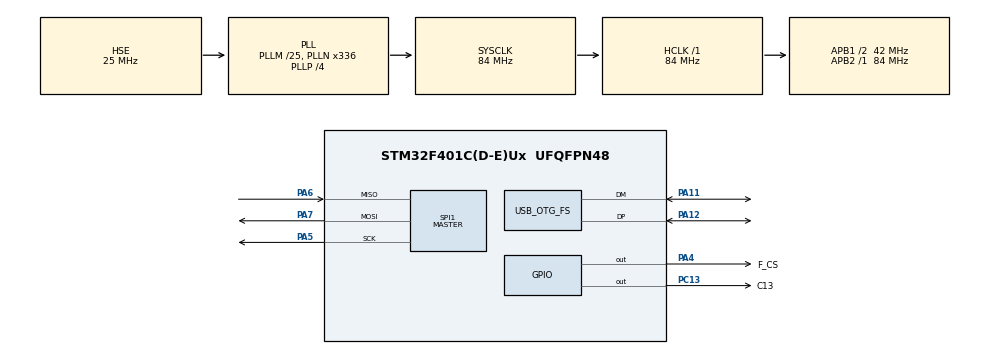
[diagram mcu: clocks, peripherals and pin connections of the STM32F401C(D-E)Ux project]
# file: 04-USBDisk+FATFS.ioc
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FATFS._CODE_PAGE=850
FATFS._MAX_SS=4096
FATFS._MIN_SS=4096
FATFS._USE_LFN=2
Mcu.Family=STM32F4
Mcu.Name=STM32F401C(D-E)Ux
Mcu.Package=UFQFPN48
NVIC.OTG_FS_IRQn=true\:1\:0\:true\:false\:true\:false\:true
NVIC.PriorityGroup=NVIC_PRIORITYGROUP_4
NVIC.RCC_IRQn=true\:0\:0\:true\:false\:true\:true\:false
NVIC.SPI1_IRQn=true\:0\:0\:true\:false\:true\:true\:true
PA11.Mode=Device_Only
PA11.Signal=USB_OTG_FS_DM
PA12.Mode=Device_Only
PA12.Signal=USB_OTG_FS_DP
PA13.Mode=Serial_Wire
PA13.Signal=SYS_JTMS-SWDIO
PA14.Mode=Serial_Wire
PA14.Signal=SYS_JTCK-SWCLK
PA4.GPIO_Label=F_CS
PA4.GPIO_Speed=GPIO_SPEED_FREQ_VERY_HIGH
PA4.PinState=GPIO_PIN_SET
PA4.Signal=GPIO_Output
PA5.Mode=Full_Duplex_Master
PA5.Signal=SPI1_SCK
PA6.Mode=Full_Duplex_Master
PA6.Signal=SPI1_MISO
PA7.Mode=Full_Duplex_Master
PA7.Signal=SPI1_MOSI
PC13-ANTI_TAMP.GPIO_Label=C13
PC13-ANTI_TAMP.PinState=GPIO_PIN_SET
PC13-ANTI_TAMP.Signal=GPIO_Output
PC14-OSC32_IN.Mode=LSE-External-Oscillator
PC14-OSC32_IN.Signal=RCC_OSC32_IN
PC15-OSC32_OUT.Mode=LSE-External-Oscillator
PC15-OSC32_OUT.Signal=RCC_OSC32_OUT
PH0\ -\ OSC_IN.Mode=HSE-External-Oscillator
PH0\ -\ OSC_IN.Signal=RCC_OSC_IN
PH1\ -\ OSC_OUT.Mode=HSE-External-Oscillator
PH1\ -\ OSC_OUT.Signal=RCC_OSC_OUT
ProjectManager.HeapSize=0x2000
ProjectManager.StackSize=0x400
ProjectManager.TargetToolchain=MDK-ARM V5.27
RCC.48MHZClocksFreq_Value=48000000
RCC.AHBFreq_Value=84000000
RCC.APB1CLKDivider=RCC_HCLK_DIV2
RCC.APB1Freq_Value=42000000
RCC.APB1TimFreq_Value=84000000
RCC.APB2Freq_Value=84000000
RCC.APB2TimFreq_Value=84000000
RCC.CortexFreq_Value=84000000
RCC.HCLKFreq_Value=84000000
RCC.HSE_VALUE=25000000
RCC.HSI_VALUE=16000000
RCC.PLLM=25
RCC.PLLN=336
RCC.PLLP=RCC_PLLP_DIV4
RCC.PLLQ=7
RCC.RCC_RTC_Clock_Source=RCC_RTCCLKSOURCE_LSE
RCC.RCC_RTC_Clock_SourceVirtual=RCC_RTCCLKSOURCE_LSE
RCC.SYSCLKFreq_VALUE=84000000
RCC.SYSCLKSource=RCC_SYSCLKSOURCE_PLLCLK
RCC.VCOOutputFreq_Value=336000000
RTC.Month=RTC_MONTH_APRIL
RTC.Year=19
SPI1.BaudRatePrescaler=SPI_BAUDRATEPRESCALER_2
SPI1.Direction=SPI_DIRECTION_2LINES
SPI1.Mode=SPI_MODE_MASTER
SPI1.VirtualType=VM_MASTER
USB_DEVICE.CLASS_NAME_FS=MSC
USB_DEVICE.MSC_MEDIA_PACKET=4096
USB_DEVICE.VirtualMode=Msc
USB_DEVICE.VirtualMode-MSC_FS=Msc
USB_DEVICE.VirtualModeFS=Msc_FS
USB_OTG_FS.VirtualMode=Device_Only
VP_FATFS_VS_Generic.Mode=User_defined
VP_RTC_VS_RTC_Activate.Mode=RTC_Enabled
VP_RTC_VS_RTC_Calendar.Mode=RTC_Calendar
VP_USB_DEVICE_VS_USB_DEVICE_MSC_FS.Mode=MSC_FS
board=custom

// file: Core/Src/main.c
/* USER CODE BEGIN Header */

// WeAct Studio 微行工作室
// https://github.com/WeActStudio/
// 淘宝搜索：WeAct Studio
// STM32F401CEU6 Core Board
// Board Version: V3.0
// 收到的板子没有Logo `WeAct` && `版本号` 的均不是我们生产，很有可能为盗版
// >> 04-USBDisk+FATFS

/**
  ******************************************************************************
  * @file           : main.c
  * @brief          : Main program body
  ******************************************************************************
  * @attention
  *
  * <h2><center>&copy; Copyright (c) 2020 STMicroelectronics.
  * All rights reserved.</center></h2>
  *
  * This software component is licensed by ST under Ultimate Liberty license
  * SLA0044, the "License"; You may not use this file except in compliance with
  * the License. You may obtain a copy of the License at:
  *                             www.st.com/SLA0044
  *
  ******************************************************************************
  */
/* USER CODE END Header */

#include "main.h"
#include "fatfs.h"
#include "rtc.h"
#include "spi.h"
#include "usb_device.h"
#include "gpio.h"

void SystemClock_Config(void);

/* USER CODE BEGIN 0 */
 /*
  *power by WeAct Studio
  *The board with `WeAct` Logo && `version number` is our board, quality guarantee.
  *For more information please visit: https://github.com/WeActStudio/MiniF4-STM32F4x1
  *更多信息请访问：https://gitee.com/WeActStudio/MiniF4-STM32F4x1
  */
/* USER CODE END 0 */

int main(void)
{

  /* MCU Configuration--------------------------------------------------------*/

  /* Reset of all peripherals, Initializes the Flash interface and the Systick. */
  HAL_Init();

  /* Configure the system clock */
  SystemClock_Config();

  /* Initialize all configured peripherals */
  MX_GPIO_Init();
  MX_SPI1_Init();
  MX_FATFS_Init();
  MX_USB_DEVICE_Init();
  MX_RTC_Init();

  /* Infinite loop */
  while (1)
  {

    /* USER CODE BEGIN 3 */
	static uint8_t pwmset;
	static uint16_t time;
	static uint8_t timeflag;
	static uint8_t timecount;

	 /* 呼吸灯 */
	if(timeflag == 0)
	{
	   time ++;
		if(time >= 1600) timeflag = 1;
	}
	else
	{
	   time --;
		if(time == 0) timeflag = 0;
	}

	/* 占空比设置 */
	pwmset = time/80;

	/* 20ms 脉宽 */
	if(timecount > 20) timecount = 0;
	else timecount ++;

	if(timecount >= pwmset ) HAL_GPIO_WritePin(C13_GPIO_Port,C13_Pin,GPIO_PIN_SET);
	else HAL_GPIO_WritePin(C13_GPIO_Port,C13_Pin,GPIO_PIN_RESET);

	HAL_PWR_EnterSLEEPMode(PWR_MAINREGULATOR_ON,PWR_SLEEPENTRY_WFI); // 1ms
  }
  /* USER CODE END 3 */
}

void SystemClock_Config(void)
{
  RCC_OscInitTypeDef RCC_OscInitStruct = {0};
  RCC_ClkInitTypeDef RCC_ClkInitStruct = {0};
  RCC_PeriphCLKInitTypeDef PeriphClkInitStruct = {0};

  /** Configure the main internal regulator output voltage
  */
  __HAL_RCC_PWR_CLK_ENABLE();
  __HAL_PWR_VOLTAGESCALING_CONFIG(PWR_REGULATOR_VOLTAGE_SCALE2);
  /** Initializes the CPU, AHB and APB busses clocks
  */
  RCC_OscInitStruct.OscillatorType = RCC_OSCILLATORTYPE_HSE|RCC_OSCILLATORTYPE_LSE;
  RCC_OscInitStruct.HSEState = RCC_HSE_ON;
  RCC_OscInitStruct.LSEState = RCC_LSE_ON;
  RCC_OscInitStruct.PLL.PLLState = RCC_PLL_ON;
  RCC_OscInitStruct.PLL.PLLSource = RCC_PLLSOURCE_HSE;
  RCC_OscInitStruct.PLL.PLLM = 25;
  RCC_OscInitStruct.PLL.PLLN = 336;
  RCC_OscInitStruct.PLL.PLLP = RCC_PLLP_DIV4;
  RCC_OscInitStruct.PLL.PLLQ = 7;
  if (HAL_RCC_OscConfig(&RCC_OscInitStruct) != HAL_OK)
  {
    Error_Handler();
  }
  /** Initializes the CPU, AHB and APB busses clocks
  */
  RCC_ClkInitStruct.ClockType = RCC_CLOCKTYPE_HCLK|RCC_CLOCKTYPE_SYSCLK
                              |RCC_CLOCKTYPE_PCLK1|RCC_CLOCKTYPE_PCLK2;
  RCC_ClkInitStruct.SYSCLKSource = RCC_SYSCLKSOURCE_PLLCLK;
  RCC_ClkInitStruct.AHBCLKDivider = RCC_SYSCLK_DIV1;
  RCC_ClkInitStruct.APB1CLKDivider = RCC_HCLK_DIV2;
  RCC_ClkInitStruct.APB2CLKDivider = RCC_HCLK_DIV1;

  if (HAL_RCC_ClockConfig(&RCC_ClkInitStruct, FLASH_LATENCY_2) != HAL_OK)
  {
    Error_Handler();
  }
  PeriphClkInitStruct.PeriphClockSelection = RCC_PERIPHCLK_RTC;
  PeriphClkInitStruct.RTCClockSelection = RCC_RTCCLKSOURCE_LSE;
  if (HAL_RCCEx_PeriphCLKConfig(&PeriphClkInitStruct) != HAL_OK)
  {
    Error_Handler();
  }
}

void Error_Handler(void)
{
}

/************************ (C) COPYRIGHT STMicroelectronics *****END OF FILE****/
